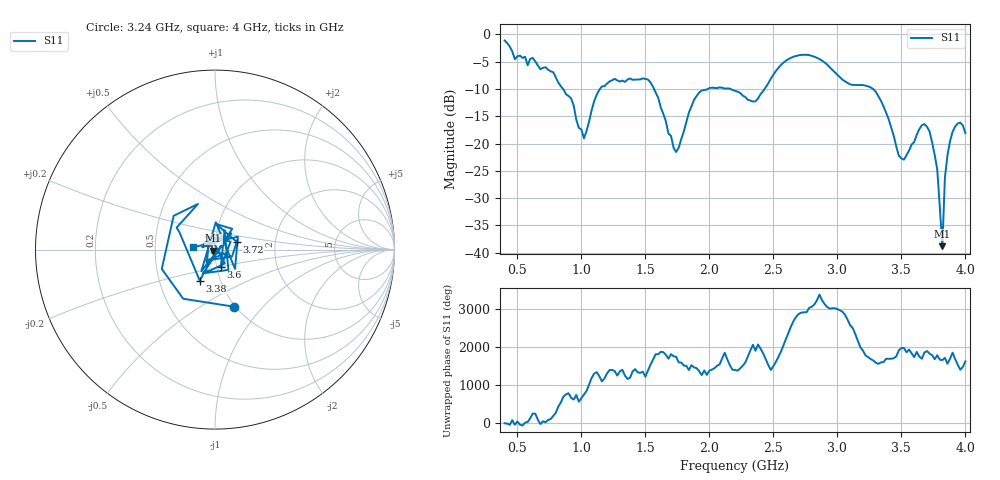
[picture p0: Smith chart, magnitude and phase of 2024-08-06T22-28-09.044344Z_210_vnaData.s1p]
!Created with skrf (http://scikit-rf.org).
# Hz S RI R 50.0
!freq ReS11 ImS11
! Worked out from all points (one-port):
!   181 points, 400 MHz to 4 GHz, reference 50 ohm
!   lowest |S11| = -38.8 dB at 3.82 GHz (marker M1), VSWR 1.02, Z = 49 - j0.56 ohm
!   |S11| at or under -10 dB: 856.6 MHz to 1.145 GHz (288.6 MHz wide, 28.8 % of centre); 1.567 GHz to 1.989 GHz (421.7 MHz wide, 23.7 % of centre); 3.279 GHz to end of sweep (the widest 3 of 4)
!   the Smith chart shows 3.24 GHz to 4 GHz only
!   S11 on the Smith chart (normalised r, x): 3.24 GHz: 0.98, -0.70; 3.38 GHz: 0.80, -0.29; 3.6 GHz: 1.05, -0.21; 3.72 GHz: 1.27, +0.11; 4 GHz: 0.78, +0.02
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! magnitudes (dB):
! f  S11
! 400 MHz  -1.1
! 480 MHz  -4.6
! 620 MHz  -4.3
! 860 MHz  -10.1
! 1.02 GHz  -19.1
! 1.14 GHz  -10.2
! 1.3 GHz  -8.7
! 1.52 GHz  -8.3
! 1.72 GHz  -20.8
! 1.76 GHz  -20.8
! 1.92 GHz  -10.7
! 2.2 GHz  -10.4
! 2.36 GHz  -12.3
! 2.66 GHz  -4.1
! 3.1 GHz  -9.2
! 3.24 GHz  -9.5
! 3.38 GHz  -14.3
! 3.48 GHz  -22.2
! 3.56 GHz  -21.3
! 3.6 GHz  -19.7
! 3.66 GHz  -16.6
! 3.72 GHz  -17.8
! 3.78 GHz  -24.7
! 3.82 GHz  -38.8
! 3.84 GHz  -26.2
! 3.88 GHz  -19.6
! 3.94 GHz  -16.3
! 4 GHz  -18.1
